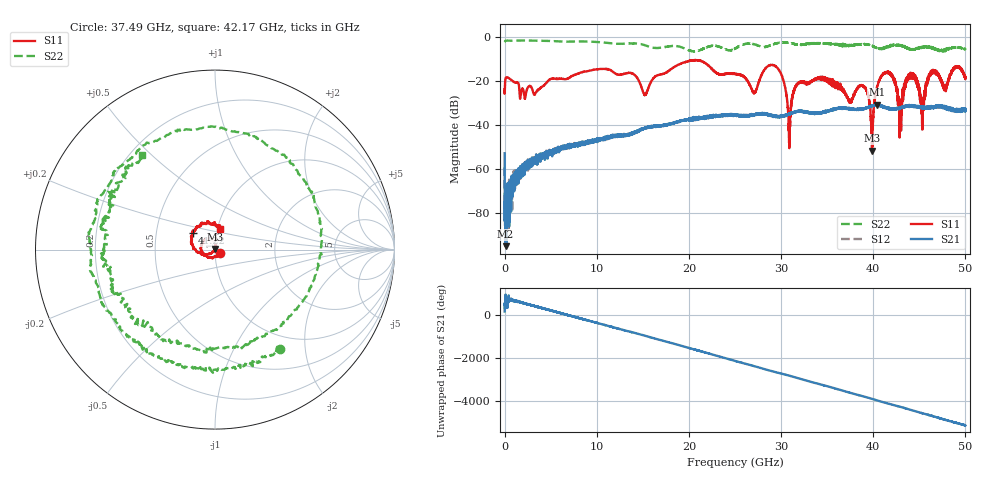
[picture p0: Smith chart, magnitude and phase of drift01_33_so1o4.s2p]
!Created with skrf (http://scikit-rf.org).
# Hz S RI R 50.0
!freq ReS11 ImS11 ReS21 ImS21 ReS12 ImS12 ReS22 ImS22
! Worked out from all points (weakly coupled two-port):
!   10001 points, 300 kHz to 50 GHz, reference 50 ohm
!   highest |S21| = -30.61 dB at 40.39 GHz (marker M1); lowest = -95.1 dB at 100.3 MHz (marker M2)
!   lowest |S11| = -51.6 dB at 39.87 GHz (marker M3), VSWR 1.01, Z = 49.8 + j0.181 ohm
!   |S11| at or under -10 dB: start of sweep to end of sweep
!   |S22| runs from -6.4 to -1.4 dB; largest |S21 - S12| = 0.0039
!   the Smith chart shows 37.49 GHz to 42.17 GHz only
!   S11 on the Smith chart (normalised r, x): 37.49 GHz: 1.06, -0.04; 41.22 GHz: 0.77, +0.15; 42.17 GHz: 1.03, +0.24
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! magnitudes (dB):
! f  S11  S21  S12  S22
! 300 kHz  -23.6  -52.8  -59.3  -2.1
! 100.3 MHz  -18.8  -95.1  -79.4  -1.5
! 8.335 GHz  -15.9  -48.5  -48.1  -1.8
! 16.67 GHz  -17.1  -40.2  -40.1  -4.8
! 25 GHz  -16.6  -35.5  -35.4  -5.1
! 27.1 GHz  -25.4  -34.9  -35.3  -3.2
! 29.43 GHz  -13.2  -36.0  -36.0  -2.8
! 30.91 GHz  -43.7  -34.7  -34.9  -2.6
! 31.67 GHz  -21.7  -33.7  -33.6  -3.2
! 33.34 GHz  -19.9  -34.3  -34.4  -2.6
! 37.49 GHz  -29.4  -32.7  -32.7  -3.6
! 38.95 GHz  -22.2  -32.3  -32.5  -3.1
! 39.87 GHz  -51.6  -31.1  -31.2  -3.7
! 40.39 GHz  -23.0  -30.6  -30.8  -4.8
! 41.22 GHz  -16.2  -31.6  -31.7  -4.5
! 41.67 GHz  -16.2  -32.4  -32.6  -4.3
! 42.17 GHz  -18.5  -32.6  -32.5  -3.6
! 42.92 GHz  -38.1  -32.3  -32.2  -3.6
! 44.07 GHz  -16.8  -31.6  -31.0  -5.3
! 45.31 GHz  -40.1  -31.9  -31.8  -4.4
! 46.43 GHz  -15.8  -31.7  -31.6  -4.7
! 50 GHz  -18.2  -32.8  -32.9  -5.3
